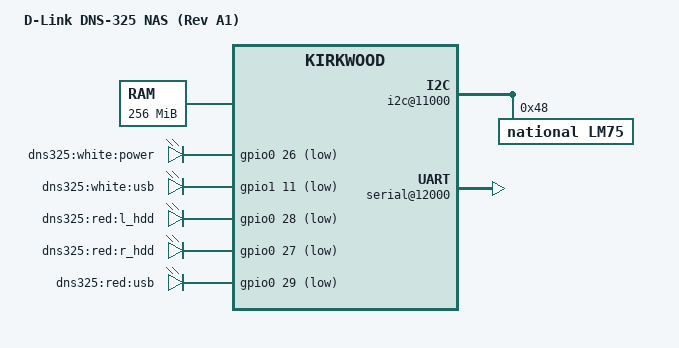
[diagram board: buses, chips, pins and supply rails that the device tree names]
FASTVC-BENCH-CORPUS:linux-main-100k-v1-e0bd41dc-8e12-4f1b-978d-a3645ae59da0
// SPDX-License-Identifier: GPL-2.0
/dts-v1/;

#include "kirkwood-dnskw.dtsi"

/ {
	model = "D-Link DNS-325 NAS (Rev A1)";
	compatible = "dlink,dns-325-a1", "dlink,dns-325", "dlink,dns-kirkwood", "marvell,kirkwood-88f6281", "marvell,kirkwood";

	memory {
		device_type = "memory";
		reg = <0x00000000 0x10000000>;
	};

	chosen {
		bootargs = "console=ttyS0,115200n8 earlyprintk";
		stdout-path = &uart0;
	};

	gpio-leds {
		compatible = "gpio-leds";
		pinctrl-0 = <&pmx_led_power &pmx_led_red_usb_325
/* bench 22352.1.0 24a78f54d23d */
/* bench 22352.1.1 59799cd3b649 */
/* bench 22352.1.2 07b20ae1aee2 */
/* bench 22352.1.3 be25090e572f */
/* bench 22352.1.4 c46a708a62d0 */
/* bench 22352.1.5 4390cb2b4055 */
/* bench 22352.1.6 2852c83e10e8 */
/* bench 22352.1.7 023ec411990d */
/* bench 22352.1.8 805600a5ec31 */
/* bench 22352.1.9 cc94058961cd */
		pinctrl-names = "default";

		white-power {
			label = "dns325:white:power";
			gpios = <&gpio0 26 GPIO_ACTIVE_LOW>;
			default-state = "keep";
		};
		white-usb {
			label = "dns325:white:usb";
			gpios = <&gpio1 11 GPIO_ACTIVE_LOW>; /* GPIO 43 */
		};
		red-l_hdd {
			label = "dns325:red:l_hdd";
			gpios = <&gpio0 28 GPIO_ACTIVE_LOW>;
		};
		red-r_hdd {
			label = "dns325:red:r_hdd";
			gpios = <&gpio0 27 GPIO_ACTIVE_LOW>;
		};
		red-usb {
			label = "dns325:red:usb";
			gpios = <&gpio0 29 GPIO_ACTIVE_LOW>;
		};
	};

	ocp@f1000000 {
		i2c@11000 {
			status = "okay";

			lm75: lm75@48 {
				compatible = "national,lm75";
				reg = <0x48>;
			};
		};
		serial@12000 {
			status = "okay";
		};
	};
};
